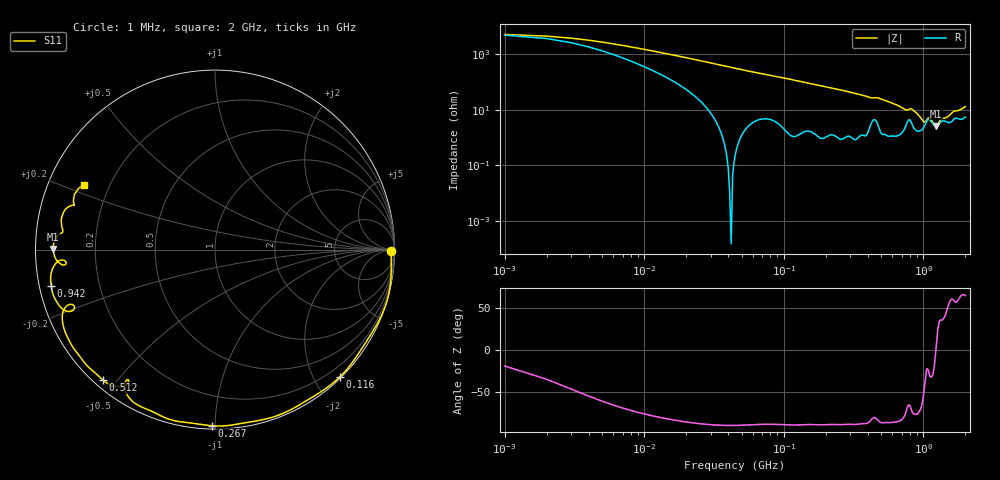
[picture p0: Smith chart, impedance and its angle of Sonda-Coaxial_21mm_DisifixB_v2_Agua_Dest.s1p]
! TOUCHSTONE file generated by CST MICROWAVE STUDIO
! Date and time: Sun Aug  2 21:09:31 2026
! Project name: Sonda-Coaxial_21mm_DisifixB_v2_Agua_Dest.cst
! Parameters = {h_recipiente=20; l_conector=5; r_arandela=35; r_ext=10.5; r_int=3; r_recipiente=50; z_recipiente=-25}
! Header version: 2018
! Port assignment regex: !\s*Touchstone port\s*([0-9]+)\s*=\s*(CST MWS port|CST DS port)\s*([0-9]+|Zmin|Zmax)\s*\(\"(.*)\"\)(\s*mode\s*([0-9]+))?.*
! Touchstone port assignment:
! Touchstone port 1 = CST MWS port 1 ("")
# GHz S RI R 50
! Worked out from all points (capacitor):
!   2000 points, 1 MHz to 2 GHz, reference 50 ohm
!   read as one part to ground: C = 10.7 pF near 11 MHz
!   lowest |Z| = 2.6 ohm at 1.233 GHz (marker M1)
!   series resonance near 1.229 GHz, so ESL is about 1.6 nH
!   S11 on the Smith chart (normalised r, x): 1 MHz: open; 116 MHz: 0.02, -2.38; 267 MHz: 0.02, -0.98; 512 MHz: 0.03, -0.46; 942 MHz: 0.03, -0.11; 2 GHz: 0.11, +0.23
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0.001  0.9817 -0.00632
0.045  0.9487 -0.3153
0.116  0.6956 -0.7093
0.184  0.3665 -0.9177
0.251  0.0528 -0.9819
0.267  -0.0191 -0.9813
0.328  -0.2509 -0.9464
0.401  -0.4785 -0.8258
0.437  -0.4912 -0.7266
0.464  -0.492 -0.7481
0.501  -0.5995 -0.745
0.512  -0.6251 -0.726
0.65  -0.809 -0.5139
0.751  -0.8381 -0.3276
0.802  -0.784 -0.328
0.841  -0.8421 -0.3365
0.942  -0.9123 -0.2005
1.001  -0.9076 -0.1141
1.049  -0.8642 -0.0604
1.089  -0.829 -0.0743
1.147  -0.8657 -0.0761
1.233  -0.9012 0.00411
1.251  -0.9002 0.0247
1.362  -0.85 0.095
1.501  -0.8563 0.154
1.617  -0.8196 0.2364
1.751  -0.7854 0.2549
2  -0.7288 0.3587
